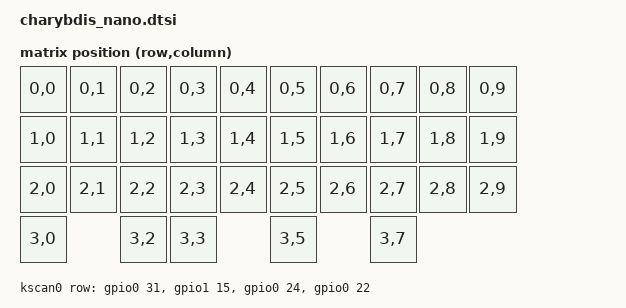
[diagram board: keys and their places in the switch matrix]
/*
 * Copyright (c) 2024 The ZMK Contributors
 * SPDX-License-Identifier: MIT
 *
 * Charybdis Nano Shield - Shared Configuration
 *
 * Matrix Layout (4 rows x 5 columns per half, columns C2-C6, no C1):
 *
 *   LEFT HALF                          RIGHT HALF
 *   C2    C3    C4    C5    C6         C2    C3    C4    C5    C6
 *  (col0)(col1)(col2)(col3)(col4)     (col5)(col6)(col7)(col8)(col9)
 * +-----+-----+-----+-----+-----+    +-----+-----+-----+-----+-----+
 * | 0,0 | 0,1 | 0,2 | 0,3 | 0,4 | R1 | 0,5 | 0,6 | 0,7 | 0,8 | 0,9 |
 * +-----+-----+-----+-----+-----+    +-----+-----+-----+-----+-----+
 * | 1,0 | 1,1 | 1,2 | 1,3 | 1,4 | R2 | 1,5 | 1,6 | 1,7 | 1,8 | 1,9 |
 * +-----+-----+-----+-----+-----+    +-----+-----+-----+-----+-----+
 * | 2,0 | 2,1 | 2,2 | 2,3 | 2,4 | R3 | 2,5 | 2,6 | 2,7 | 2,8 | 2,9 |
 * +-----+-----+-----+-----+-----+    +-----+-----+-----+-----+-----+
 * | 3,0 |     | 3,2 | 3,3 |     | R4 | 3,5 |     | 3,7 |     |     |
 * +-----+     +-----+-----+           +-----+     +-----+
 *   ^-- Left thumb: 3 keys              ^-- Right thumb: 2 keys (trackball at C5R4)
 *       (C2R4, C4R4, C5R4)                  (C2R4, C4R4)
 *
 * Pin Mappings (nice_nano_v2 / Pro Micro footprint):
 *   Rows:    R1=P0.31(D21), R2=P1.15(D18), R3=P0.24(D5), R4=P0.22(D4)
 *   Columns: C2=P0.29(D20), C3=P0.09(D10), C4=P1.00(D6), C5=P0.11(D7), C6=P1.04(D8)
 *
 * Diode Direction: col2row (columns drive, rows sense)
 *   To flip to row2col: change diode-direction and swap GPIO flags (see comments below)
 */

#include <dt-bindings/zmk/matrix_transform.h>

/ {
    chosen {
        zmk,kscan = &kscan0;
        zmk,matrix-transform = &default_transform;
    };

    /*
     * Matrix Transform
     * Maps physical switch positions to logical keymap positions.
     * Total: 10 columns (5 left + 5 right), 4 rows
     * Total keys: 35 (18 left + 17 right)
     *
     * The thumb row (R4) has gaps because not all column positions have keys:
     * - Left:  C2R4=key, C3R4=none, C4R4=key, C5R4=key, C6R4=none
     * - Right: C2R4=key, C3R4=none, C4R4=key, C5R4=trackball, C6R4=none
     */
    default_transform: keymap_transform_0 {
        compatible = "zmk,matrix-transform";
        columns = <10>;
        rows = <4>;
        map = <
        /*       LEFT HALF (cols 0-4)                      RIGHT HALF (cols 5-9)          */
        /*  C2      C3      C4      C5      C6        C2      C3      C4      C5      C6  */
            RC(0,0) RC(0,1) RC(0,2) RC(0,3) RC(0,4)   RC(0,5) RC(0,6) RC(0,7) RC(0,8) RC(0,9)
            RC(1,0) RC(1,1) RC(1,2) RC(1,3) RC(1,4)   RC(1,5) RC(1,6) RC(1,7) RC(1,8) RC(1,9)
            RC(2,0) RC(2,1) RC(2,2) RC(2,3) RC(2,4)   RC(2,5) RC(2,6) RC(2,7) RC(2,8) RC(2,9)
            RC(3,0)         RC(3,2) RC(3,3)           RC(3,5)         RC(3,7)
        >;
    };

    /*
     * Kscan Configuration
     * Row GPIOs are shared between both halves.
     * Column GPIOs are specified per-half in the overlay files.
     *
     * Diode direction: col2row
     *   - Columns are outputs (active high, no pull)
     *   - Rows are inputs (active high with pull-down)
     *
     * To flip to row2col:
     *   1. Change diode-direction to "row2col"
     *   2. Row GPIOs: change to GPIO_ACTIVE_HIGH (remove GPIO_PULL_DOWN)
     *   3. Col GPIOs: change to (GPIO_ACTIVE_HIGH | GPIO_PULL_DOWN)
     */
    kscan0: kscan0 {
        compatible = "zmk,kscan-gpio-matrix";
        diode-direction = "col2row";
        wakeup-source;

        row-gpios
            = <&gpio0 31 (GPIO_ACTIVE_HIGH | GPIO_PULL_DOWN)>  /* R1 = P0.31 (D21) */
            , <&gpio1 15 (GPIO_ACTIVE_HIGH | GPIO_PULL_DOWN)>  /* R2 = P1.15 (D18) */
            , <&gpio0 24 (GPIO_ACTIVE_HIGH | GPIO_PULL_DOWN)>  /* R3 = P0.24 (D5)  */
            , <&gpio0 22 (GPIO_ACTIVE_HIGH | GPIO_PULL_DOWN)>  /* R4 = P0.22 (D4)  */
            ;

        /* col-gpios defined in left/right overlay files */
    };

    /*
     * Input Split Configuration
     * Used to relay trackball input from peripheral (right) to central (left).
     * The trackball is physically connected to the right half.
     */
    split_inputs {
        #address-cells = <1>;
        #size-cells = <0>;

        trackball_split: trackball_split@0 {
            compatible = "zmk,input-split";
            reg = <0>;
        };
    };

    /*
     * Trackball Input Listener
     * Receives events from trackball_split on central side.
     * Disabled by default; enabled in left overlay.
     */
    trackball_listener: trackball_listener {
        compatible = "zmk,input-listener";
        status = "disabled";
        device = <&trackball_split>;
    };
};
